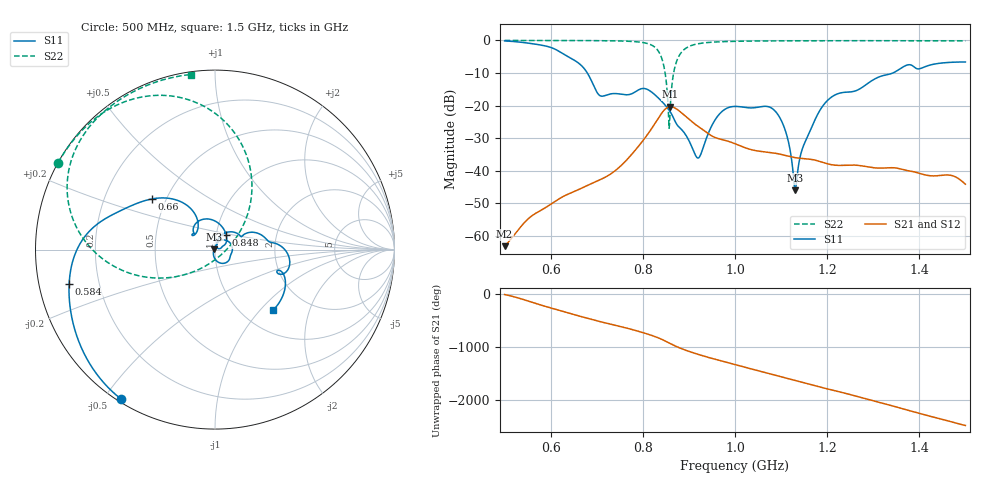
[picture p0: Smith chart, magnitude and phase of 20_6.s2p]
! TOUCHSTONE file generated by CST MICROWAVE STUDIO
! Date and time: Sat Oct 24 11:46:50 2020
! Project name: Scenario_1_Circular_Tissue_out_of_Line.cst
! Parameters = {dy1=-16.521; L_HA=400; MT=2.54; Rad_Dielectric=30; Rad_Lower=7.3; Rad_Upper=30; a_HA=580; a_WG=246; b_HA=500; b_WG=121; c_HA=0; c_WG=187; d_feed=85; dx1=1039; h_feed=15; h_lower=18; h_upper=40}
! Header version: 2018
! Port assignment regex: !\s*Touchstone port\s*([0-9]+)\s*=\s*(CST MWS port|CST DS port)\s*([0-9]+|Zmin|Zmax)\s*\(\"(.*)\"\)(\s*mode\s*([0-9]+))?.*
! Touchstone port assignment:
! Touchstone port 1 = CST MWS port 1 ("")
! Touchstone port 2 = CST MWS port 2 ("")
# GHz S DB R 50
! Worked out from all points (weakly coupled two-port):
!   1001 points, 500 MHz to 1.5 GHz, reference 50 ohm
!   highest |S21| = -20.33 dB at 860 MHz (marker M1); lowest = -63.1 dB at 500 MHz (marker M2)
!   lowest |S11| = -46.0 dB at 1.131 GHz (marker M3), VSWR 1.01, Z = 49.6 + j0.251 ohm
!   |S11| at or under -10 dB: 679.5 MHz to 1.342 GHz (663 MHz wide, 65.6 % of centre)
!   |S22| runs from -27.0 to 0.0 dB; largest |S21 - S12| = 5.1e-05
!   S11 on the Smith chart (normalised r, x): 500 MHz: 0.01, -0.55; 584 MHz: 0.09, -0.12; 660 MHz: 0.42, +0.30; 848 MHz: 1.12, +0.18; 1.5 GHz: 1.37, -1.18
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0.5  -0.15 -122.2  -63.14 -2.6  -63.14 -2.6  -0.01 151.1
0.584  -1.56 -166.6  -51.71 144.7  -51.71 144.7  -0.02 145.3
0.66  -6.90 141.4  -45.80 -44.6  -45.80 -44.6  -0.04 139.0
0.667  -7.75 135.3  -45.33 -61.1  -45.33 -61.1  -0.04 138.4
0.708  -17.02 136.5  -42.70 -155.8  -42.70 -155.8  -0.07 133.9
0.789  -15.31 134.2  -32.75 26.5  -32.75 26.5  -0.45 117.3
0.834  -17.71 70.9  -23.77 -102.6  -23.77 -102.6  -3.36 82.3
0.848  -19.78 52.4  -21.14 -158.0  -21.14 -158.0  -9.67 52.9
0.855  -20.99 42.8  -20.46 171.2  -20.46 171.2  -20.84 16.3
0.86  -22.03 35.7  -20.33 149.1  -20.33 149.1  -19.30 -121.0
0.867  -23.92 27.4  -20.57 119.3  -20.57 119.3  -9.82 -150.7
0.877  -26.38 24.6  -21.44 80.0  -21.44 80.0  -5.16 -169.2
0.92  -36.09 41.6  -26.39 -52.8  -26.40 -52.8  -1.02 157.9
0.961  -23.50 53.2  -30.01 -153.3  -30.02 -153.4  -0.45 146.5
1  -20.25 4.7  -31.71 112.3  -31.71 112.3  -0.27 140.2
1.09  -22.16 -70.8  -34.68 -93.5  -34.68 -93.5  -0.13 130.6
1.112  -28.92 -102.2  -35.42 -144.5  -35.42 -144.5  -0.12 128.7
1.131  -45.97 149.8  -35.98 173.2  -35.98 173.2  -0.11 127.1
1.167  -26.46 73.8  -36.55 90.8  -36.55 90.7  -0.10 124.2
1.211  -17.23 45.9  -38.18 -7.5  -38.18 -7.5  -0.09 120.8
1.334  -10.39 8.6  -39.09 73.8  -39.08 73.8  -0.09 111.5
1.5  -6.61 -46.0  -44.12 44.1  -44.12 44.1  -0.14 97.9
